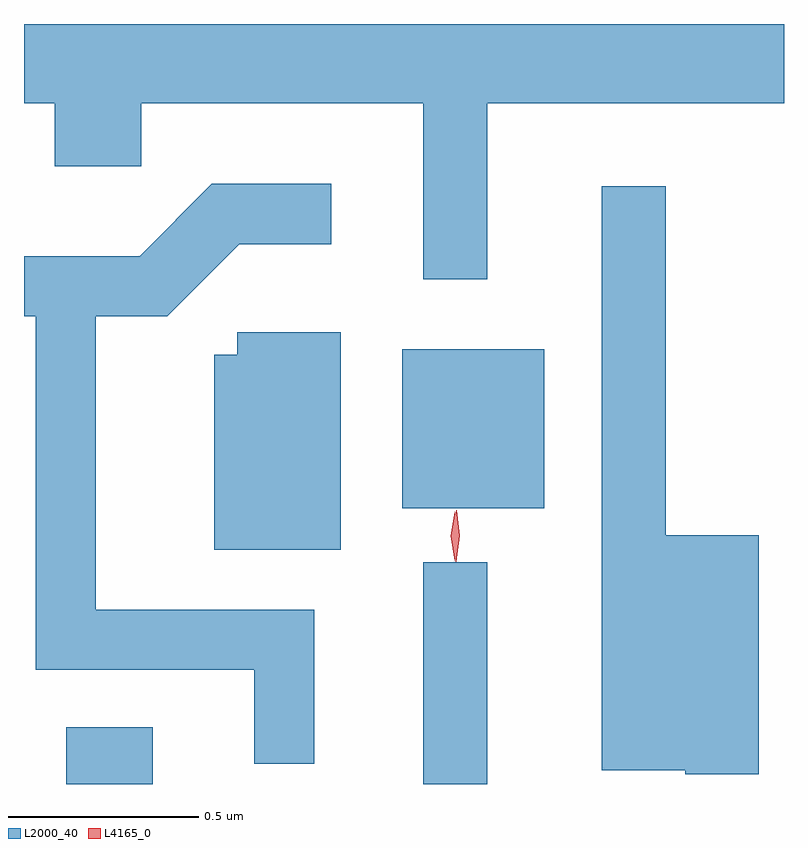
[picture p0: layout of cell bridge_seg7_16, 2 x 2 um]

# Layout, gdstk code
import gdstk
lib = gdstk.Library(unit=1e-6, precision=1e-09)
def R(c, l, rs):  # rectangles x0, y0, x1, y1
    for r in rs: c.add(gdstk.rectangle(r[:2], r[2:], *l))
def P(c, l, *ps):  # polygons
    for p in ps: c.add(gdstk.Polygon(p, *l))
L2000_40 = (2000, 40)
L4165_0 = (4165, 0)

bridge_seg7_16 = lib.new_cell('bridge_seg7_16')
R(bridge_seg7_16, L2000_40, [(1689.231,1736.945,1689.459,1737.094), (1690.171,1736.945,1690.339,1737.528), (1690.116,1737.671,1690.489,1738.089)])
P(bridge_seg7_16, L2000_40, [(1690.339,1738.736),(1691.12,1738.736),(1691.12,1738.945),(1689.12,1738.945),(1689.12,1738.736),(1689.201,1738.736),(1689.201,1738.571),(1689.429,1738.571),(1689.429,1738.736),(1690.171,1738.736),(1690.171,1738.273),(1690.339,1738.273)],
  [(1689.884,1737.404),(1689.309,1737.404),(1689.309,1738.176),(1689.497,1738.176),(1689.687,1738.366),(1689.928,1738.366),(1689.928,1738.524),(1689.614,1738.524),(1689.424,1738.334),(1689.12,1738.334),(1689.12,1738.176),(1689.151,1738.176),(1689.151,1737.246),(1689.726,1737.246),(1689.726,1736.998),(1689.884,1736.998)],
  [(1691.054,1737.599),(1690.809,1737.599),(1690.809,1738.518),(1690.641,1738.518),(1690.641,1736.981),(1690.86,1736.981),(1690.86,1736.971),(1691.054,1736.971)],
  [(1689.954,1738.134),(1689.681,1738.134),(1689.681,1738.074),(1689.621,1738.074),(1689.621,1737.561),(1689.954,1737.561)])
P(bridge_seg7_16, L4165_0, [(1690.256,1737.53),(1690.256,1737.53),(1690.248,1737.598),(1690.258,1737.666),(1690.259,1737.666),(1690.259,1737.666),(1690.267,1737.598),(1690.257,1737.53)],
  [(1690.253,1737.533),(1690.253,1737.533),(1690.243,1737.598),(1690.253,1737.661),(1690.253,1737.662),(1690.254,1737.661),(1690.263,1737.598),(1690.254,1737.533)])

lib.write_gds('bridge_seg7_16.gds')
